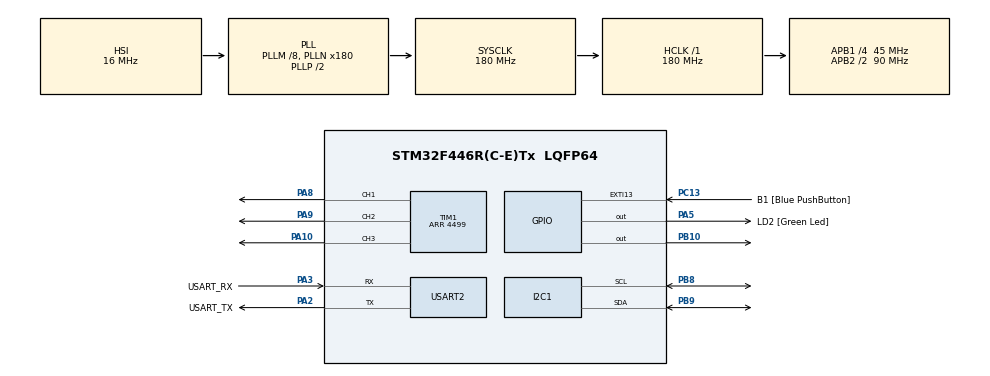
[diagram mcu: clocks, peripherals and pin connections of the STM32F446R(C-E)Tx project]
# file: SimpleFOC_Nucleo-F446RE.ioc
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FREERTOS.Tasks01=defaultTask,8,128,StartDefaultTask,Default,NULL,Dynamic,NULL,NULL;FOC_Task,48,512,StartFOC_Task,Default,NULL,Dynamic,NULL,NULL;Log_Task,8,512,StartLog_Task,Default,NULL,Dynamic,NULL,NULL
FREERTOS.configUSE_NEWLIB_REENTRANT=1
I2C1.I2C_Mode=I2C_Fast
Mcu.Family=STM32F4
Mcu.Name=STM32F446R(C-E)Tx
Mcu.Package=LQFP64
NVIC.EXTI15_10_IRQn=true\:6\:0\:true\:false\:true\:true\:true\:true\:true
NVIC.I2C1_EV_IRQn=true\:5\:0\:false\:false\:true\:true\:true\:true\:true
NVIC.PriorityGroup=NVIC_PRIORITYGROUP_4
NVIC.TIM1_UP_TIM10_IRQn=true\:5\:0\:true\:false\:true\:true\:true\:true\:true
NVIC.TIM6_DAC_IRQn=true\:15\:0\:false\:false\:true\:false\:false\:true\:true
NVIC.TimeBase=TIM6_DAC_IRQn
NVIC.TimeBaseIP=TIM6
PA10.Signal=S_TIM1_CH3
PA13.GPIO_Label=TMS
PA13.Mode=Serial_Wire
PA13.Signal=SYS_JTMS-SWDIO
PA14.GPIO_Label=TCK
PA14.Mode=Serial_Wire
PA14.Signal=SYS_JTCK-SWCLK
PA2.GPIO_Label=USART_TX
PA2.Mode=Asynchronous
PA2.Signal=USART2_TX
PA3.GPIO_Label=USART_RX
PA3.Mode=Asynchronous
PA3.Signal=USART2_RX
PA5.GPIO_Label=LD2 [Green Led]
PA5.Signal=GPIO_Output
PA8.Signal=S_TIM1_CH1
PA9.Signal=S_TIM1_CH2
PB10.Signal=GPIO_Output
PB3.GPIO_Label=SWO
PB3.Signal=SYS_JTDO-SWO
PB8.Mode=I2C
PB8.Signal=I2C1_SCL
PB9.Mode=I2C
PB9.Signal=I2C1_SDA
PC13.GPIO_Label=B1 [Blue PushButton]
PC13.GPIO_ModeDefaultEXTI=GPIO_MODE_IT_FALLING
PC13.Signal=GPXTI13
PC14-OSC32_IN.Mode=LSE-External-Oscillator
PC14-OSC32_IN.Signal=RCC_OSC32_IN
PC15-OSC32_OUT.Mode=LSE-External-Oscillator
PC15-OSC32_OUT.Signal=RCC_OSC32_OUT
PH0-OSC_IN.Mode=HSE-External-Clock-Source
PH0-OSC_IN.Signal=RCC_OSC_IN
PH1-OSC_OUT.Mode=HSE-External-Clock-Source
PH1-OSC_OUT.Signal=RCC_OSC_OUT
ProjectManager.HeapSize=0x200
ProjectManager.StackSize=0x400
ProjectManager.TargetToolchain=STM32CubeIDE
RCC.48MHZClocksFreq_Value=84000000
RCC.AHBFreq_Value=180000000
RCC.APB1CLKDivider=RCC_HCLK_DIV4
RCC.APB1Freq_Value=45000000
RCC.APB1TimFreq_Value=90000000
RCC.APB2CLKDivider=RCC_HCLK_DIV2
RCC.APB2Freq_Value=90000000
RCC.APB2TimFreq_Value=180000000
RCC.CortexFreq_Value=180000000
RCC.FLatency-AdvancedSettings=FLASH_LATENCY_5
RCC.HCLKFreq_Value=180000000
RCC.HSE_VALUE=8000000
RCC.HSI_VALUE=16000000
RCC.PLLM=8
RCC.PLLN=180
RCC.SYSCLKFreq_VALUE=180000000
RCC.SYSCLKSource=RCC_SYSCLKSOURCE_PLLCLK
RCC.USBFreq_Value=180000000
RCC.VCOOutputFreq_Value=360000000
SH.S_TIM1_CH1.0=TIM1_CH1,PWM Generation1 CH1
SH.S_TIM1_CH2.0=TIM1_CH2,PWM Generation2 CH2
SH.S_TIM1_CH3.0=TIM1_CH3,PWM Generation3 CH3
TIM1.Channel-PWM\ Generation1\ CH1=TIM_CHANNEL_1
TIM1.Channel-PWM\ Generation2\ CH2=TIM_CHANNEL_2
TIM1.Channel-PWM\ Generation3\ CH3=TIM_CHANNEL_3
TIM1.CounterMode=TIM_COUNTERMODE_CENTERALIGNED1
TIM1.Period=4499
TIM1.Pulse-PWM\ Generation1\ CH1=2250
TIM1.Pulse-PWM\ Generation2\ CH2=2250
TIM1.Pulse-PWM\ Generation3\ CH3=2250
USART2.VirtualMode=VM_ASYNC
VP_FREERTOS_VS_CMSIS_V2.Mode=CMSIS_V2
VP_SYS_VS_tim6.Mode=TIM6
board=NUCLEO-F446RE

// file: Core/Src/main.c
/* USER CODE BEGIN Header */
/**
  ******************************************************************************
  * @file           : main.c
  * @brief          : Positionsregelung mit FOC + FreeRTOS (CMSIS-RTOS V2)
  *
  * Betriebsmodus: Positionsregelung (Kaskade Position → Geschwindigkeit → Uq)
  *
  * Button (PC13):
  *   Kurz (<800 ms) : nächste Zielposition aus angle_table
  *   Lang (≥800 ms) : zurück zu 0°
  *
  * Zielwinkel ändern: angle_table[] in rad anpassen
  * Regler tunen    : PI_VEL_KP/KI, PI_POS_KP, PI_POS_VEL_LIMIT in #defines
  ******************************************************************************
  */
/* USER CODE END Header */

#include "main.h"
#include "cmsis_os.h"
#include "i2c.h"
#include "tim.h"
#include "usart.h"
#include "gpio.h"

/* USER CODE BEGIN Includes */
#include "foc.h"
#include "as5600.h"
#include <stdio.h>
#include <string.h>
/* USER CODE END Includes */

/* USER CODE BEGIN PTD */
typedef struct {
    float    angle;           /* gemessener Winkel [rad]    */
    float    target;          /* Sollwinkel [rad]           */
    float    velocity;        /* gefilterte Geschw. [rad/s] */
    float    Uq;              /* q-Achsen-Spannung [V]      */
    float    pos_error;       /* Positionsfehler [rad]      */
    uint8_t  stalled;
    uint32_t timestamp_ms;
} LogMsg_t;
/* USER CODE END PTD */

/* USER CODE BEGIN PD */
#define MOTOR_POLE_PAIRS      7
#define MOTOR_VOLTAGE_SUPPLY  12.0f
#define PWM_ARR               4499U
#define CTRL_TS_S             (1.0f / 20000.0f)
#define SENSOR_DIV            10
#define SENSOR_TS_S           (CTRL_TS_S * SENSOR_DIV)   /* 500 µs */

/* Geschwindigkeitsregler */
#define PI_VEL_KP             0.4f
#define PI_VEL_KI             0.3f

/* Positionsregler */
#define PI_POS_KP             1.0f    /* erhöhen → schneller, aber Überschwingen */
#define PI_POS_KI             0.0f    /* meist 0 – Geschwindigkeitsregler übernimmt */
//#define PI_POS_VEL_LIMIT      40.0f   /* max. Ausgang Positionsregler [rad/s]       */
#define PI_POS_VEL_LIMIT   30.0f   // diese Geschwindigkeit wird konstant gehalten
/* Stall-Erkennung */
#define STALL_VEL_THRESHOLD   0.3f    /* rad/s – unter diesem Wert gilt Motor als still */
#define STALL_POS_THRESHOLD   0.1f    /* rad  – ~6°, ab hier gilt Position als "nicht erreicht" */
#define STALL_TIME_MS         800
#define RESTART_TIME_MS       2000

#define FOC_FLAG_TICK         0x0001U
#define LOG_DIV               200U
#define LOG_QUEUE_DEPTH       8U
/* USER CODE END PD */

/* USER CODE BEGIN PV */
static FOC_t    foc;
static AS5600_t sensor;
static uint16_t tick_div     = 0;
static float    angle_prev   = 0.0f;
static float    vel_filtered = 0.0f;

static volatile uint32_t btn_press_time = 0;
static volatile uint8_t  btn_pressed    = 0;

static uint32_t stall_timer        = 0;
static uint8_t  stall_timer_active = 0;
static uint8_t  stalled            = 0;

/*
 * Zielpositionen in Grad → Umrechnung: rad = Grad * PI / 180
 * Beispiel: 0°, 90°, 180°, 270°
 * Anpassen nach Bedarf – beliebig viele Einträge möglich.
 */

#define POS_HOLD_MS    100U   /* wie lange jede Position gehalten wird */

static const float angle_table[] = {
    0.0f,               /*   0° */
    FOC_PI,             /* 180° */
	  0.0f,               /*   0° */
    10*FOC_TWO_PI,         /* 360° */
};
static uint8_t angle_idx = 0;

static uint32_t log_div_cnt = 0;

/* CMSIS-RTOS V2 Handles */
static osThreadId_t foc_task_id = NULL;
static const osThreadAttr_t foc_task_attr = {
    .name       = "FOC_Task",
    .priority   = osPriorityRealtime,
    .stack_size = 512 * 4
};

static osThreadId_t log_task_id = NULL;
static const osThreadAttr_t log_task_attr = {
    .name       = "Log_Task",
    .priority   = osPriorityNormal,
    .stack_size = 512 * 4
};

static osMessageQueueId_t log_queue_id = NULL;
static const osMessageQueueAttr_t log_queue_attr = {
    .name = "LogQueue"
};

static osThreadId_t pos_task_id = NULL;
static const osThreadAttr_t pos_task_attr = {
    .name       = "Pos_Task",
    .priority   = osPriorityNormal,
    .stack_size = 256 * 4
};
/* USER CODE END PV */

void SystemClock_Config(void);

/* USER CODE BEGIN PFP */
static void FOC_Task    (void *arg);
static void Log_Task    (void *arg);
static void sensor_tick (void);
static void stall_update(void);
static void commutate   (void);
static void Pos_Task    (void *arg);
/* USER CODE END PFP */

int main(void)
{
    HAL_Init();
    SystemClock_Config();

    MX_GPIO_Init();
    MX_USART2_UART_Init();
    MX_I2C1_Init();
    MX_TIM1_Init();

    /* USER CODE BEGIN 2 */

    /* ── LED-Blitz ───────────────────────────────────────────── */
    HAL_GPIO_WritePin(GPIOA, GPIO_PIN_5, GPIO_PIN_SET);
    HAL_Delay(300);
    HAL_GPIO_WritePin(GPIOA, GPIO_PIN_5, GPIO_PIN_RESET);

    /* ── AS5600 ──────────────────────────────────────────────── */
    if (AS5600_Init(&sensor, &hi2c1, 0.03f) != HAL_OK) {
        while (1) {
            HAL_GPIO_TogglePin(GPIOA, GPIO_PIN_5);
            HAL_Delay(100);
        }
    }
    for (int i = 0; i < 4; i++) {
        HAL_GPIO_TogglePin(GPIOA, GPIO_PIN_5);
        HAL_Delay(250);
    }

    /* ── FOC Init ────────────────────────────────────────────── */
    FOC_Init(&foc,
             &htim1,
             TIM_CHANNEL_1, TIM_CHANNEL_2, TIM_CHANNEL_3,
             GPIOB, GPIO_PIN_10,
             MOTOR_VOLTAGE_SUPPLY,
             MOTOR_POLE_PAIRS,
             PWM_ARR,
             PI_VEL_KP, PI_VEL_KI,
             PI_POS_KP, PI_POS_KI, PI_POS_VEL_LIMIT);

    /* ── Kalibrierung ────────────────────────────────────────── */
    HAL_GPIO_WritePin(GPIOA, GPIO_PIN_5, GPIO_PIN_SET);
    FOC_Enable(&foc);
    if (FOC_Calibrate(&foc, &sensor) != HAL_OK) {
        Error_Handler();
    }
    HAL_GPIO_WritePin(GPIOA, GPIO_PIN_5, GPIO_PIN_RESET);

    /* Startposition = aktuelle Istposition → kein Ruck beim Start */
    foc.target_angle = AS5600_GetAngle(&sensor);
    angle_prev       = foc.target_angle;

    /* ── FreeRTOS ────────────────────────────────────────────── */
    osKernelInitialize();

    pos_task_id = osThreadNew(Pos_Task, NULL, &pos_task_attr);
    if (pos_task_id == NULL) Error_Handler();

    log_queue_id = osMessageQueueNew(LOG_QUEUE_DEPTH, sizeof(LogMsg_t),
                                     &log_queue_attr);
    if (log_queue_id == NULL) Error_Handler();

    foc_task_id = osThreadNew(FOC_Task, NULL, &foc_task_attr);
    if (foc_task_id == NULL) Error_Handler();

    log_task_id = osThreadNew(Log_Task, NULL, &log_task_attr);
    if (log_task_id == NULL) Error_Handler();

    __HAL_TIM_ENABLE_IT(&htim1, TIM_IT_UPDATE);

    osKernelStart();

    /* USER CODE END 2 */
    while (1) {}
}

/* ════════════════════════════════════════════════════════════
   FOC_Task  (osPriorityRealtime, 20 kHz)
   ════════════════════════════════════════════════════════════ */
static void FOC_Task(void *arg)
{
    (void)arg;
    for (;;)
    {
        osThreadFlagsWait(FOC_FLAG_TICK, osFlagsWaitAny, osWaitForever);

        tick_div++;
        if (tick_div >= SENSOR_DIV) {
            tick_div = 0;
            sensor_tick();
            stall_update();
        }
        commutate();
    }
}

static void Pos_Task(void *arg)
{
    (void)arg;
    uint8_t idx = 0;
    uint8_t n   = sizeof(angle_table) / sizeof(angle_table[0]);

    for (;;)
    {
        foc.target_angle = angle_table[idx];

        /* Warten bis Position erreicht (Fehler < Deadband) */
        float error;
        do {
            osDelay(10);
            error = foc.target_angle - AS5600_GetAngle(&sensor);
        } while (fabsf(error) > FOC_POS_DEADBAND * 2.0f);

        osDelay(500);   /* kurz halten, dann nächste Position */

        idx = (idx + 1) % n;
    }
}

/* ════════════════════════════════════════════════════════════
   Log_Task  (osPriorityNormal)
   ════════════════════════════════════════════════════════════ */
static void Log_Task(void *arg)
{
    (void)arg;
    LogMsg_t msg;
    char     buf[160];

    for (;;)
    {
        if (osMessageQueueGet(log_queue_id, &msg, NULL, osWaitForever) == osOK)
        {
            int len = snprintf(buf, sizeof(buf),
                               "--- t=%lu ms ---\r\n"
                               "  angle : %.3f rad (%.1f deg)\r\n"
                               "  target: %.3f rad (%.1f deg)\r\n"
                               "  error : %.3f rad\r\n"
                               "  vel   : %.2f rad/s\r\n"
                               "  Uq    : %.2f V\r\n"
                               "  stall : %u\r\n",
                               (unsigned long)msg.timestamp_ms,
                               msg.angle,   msg.angle   * 57.2957f,
                               msg.target,  msg.target  * 57.2957f,
                               msg.pos_error,
                               msg.velocity,
                               msg.Uq,
                               msg.stalled);

            HAL_UART_Transmit(&huart2, (uint8_t *)buf, (uint16_t)len, 200);
        }
    }
}

/* ════════════════════════════════════════════════════════════
   sensor_tick  (2 kHz)
   Positionsregelung: Position → Geschwindigkeit → Uq
   ════════════════════════════════════════════════════════════ */
static void sensor_tick(void)
{
    if (!foc.calibrated) return;

    AS5600_StartRead(&sensor);

    /* Winkel lesen + Geschwindigkeit berechnen (festes dt = SENSOR_TS_S) */
    float mech = AS5600_GetAngle(&sensor);
    float d    = mech - angle_prev;   /* unwrapped → kein Wrap-Clip nötig */
    angle_prev = mech;

    vel_filtered += 0.05f * (d / SENSOR_TS_S - vel_filtered);

    /* Kaskadenregler: Position → Sollgeschwindigkeit → Uq */
    FOC_PositionLoop(&foc, mech, vel_filtered, SENSOR_TS_S);

    /* Logging */
    log_div_cnt++;
    if (log_div_cnt >= LOG_DIV) {
        log_div_cnt = 0;

        float pos_error = foc.target_angle - mech;
        while (pos_error >  FOC_PI) pos_error -= FOC_TWO_PI;
        while (pos_error < -FOC_PI) pos_error += FOC_TWO_PI;

        LogMsg_t msg = {
            .angle        = mech,
            .target       = foc.target_angle,
            .velocity     = vel_filtered,
            .Uq           = foc.Uq,
            .pos_error    = pos_error,
            .stalled      = stalled,
            .timestamp_ms = HAL_GetTick()
        };
        osMessageQueuePut(log_queue_id, &msg, 0, 0);
    }
}

/* ════════════════════════════════════════════════════════════
   stall_update  (2 kHz)
   Stall: Positionsfehler > Schwelle UND Geschwindigkeit ~0
   ════════════════════════════════════════════════════════════ */
static void stall_update(void)
{
    float pos_error = foc.target_angle - AS5600_GetAngle(&sensor);
    while (pos_error >  FOC_PI) pos_error -= FOC_TWO_PI;
    while (pos_error < -FOC_PI) pos_error += FOC_TWO_PI;

    if (!stalled) {
        if (fabsf(vel_filtered)  < STALL_VEL_THRESHOLD &&
            fabsf(pos_error)     > STALL_POS_THRESHOLD) {
            if (!stall_timer_active) {
                stall_timer_active = 1;
                stall_timer = HAL_GetTick();
            } else if (HAL_GetTick() - stall_timer > STALL_TIME_MS) {
                stalled            = 1;
                stall_timer_active = 1;
                stall_timer        = HAL_GetTick();
                FOC_Disable(&foc);
                HAL_GPIO_WritePin(GPIOA, GPIO_PIN_5, GPIO_PIN_RESET);
            }
        } else {
            stall_timer_active = 0;
            stall_timer        = 0;
        }
    } else {
        /* Stall-LED blinkt */
        HAL_GPIO_WritePin(GPIOA, GPIO_PIN_5,
            (HAL_GetTick() / 200) % 2 ? GPIO_PIN_SET : GPIO_PIN_RESET);

        if (HAL_GetTick() - stall_timer > RESTART_TIME_MS) {
            stalled            = 0;
            stall_timer_active = 0;
            stall_timer        = 0;

            /* Positionsregler und Integratoren zurücksetzen */
            PI_Reset(&foc.pi_velocity);
            PI_Reset(&foc.pi_position);

            /* Ziel = aktuelle Istposition → kein Ruck beim Neustart */
            foc.target_angle = AS5600_GetAngle(&sensor);
            angle_prev       = foc.target_angle;

            FOC_Enable(&foc);
            HAL_GPIO_WritePin(GPIOA, GPIO_PIN_5, GPIO_PIN_SET);
        }
    }
}

/* ════════════════════════════════════════════════════════════
   commutate  (20 kHz)
   ════════════════════════════════════════════════════════════ */
static void commutate(void)
{
    if (!foc.calibrated) return;

    float elec_angle = FOC_ElecAngle(&foc, AS5600_GetAngle(&sensor));
    FOC_SetPhaseVoltage(&foc, foc.Uq, foc.Ud, elec_angle);
}

/* ════════════════════════════════════════════════════════════
   System Clock
   ════════════════════════════════════════════════════════════ */
void SystemClock_Config(void)
{
    RCC_OscInitTypeDef RCC_OscInitStruct = {0};
    RCC_ClkInitTypeDef RCC_ClkInitStruct = {0};

    __HAL_RCC_PWR_CLK_ENABLE();
    __HAL_PWR_VOLTAGESCALING_CONFIG(PWR_REGULATOR_VOLTAGE_SCALE1);

    RCC_OscInitStruct.OscillatorType      = RCC_OSCILLATORTYPE_HSI;
    RCC_OscInitStruct.HSIState            = RCC_HSI_ON;
    RCC_OscInitStruct.HSICalibrationValue = RCC_HSICALIBRATION_DEFAULT;
    RCC_OscInitStruct.PLL.PLLState        = RCC_PLL_ON;
    RCC_OscInitStruct.PLL.PLLSource       = RCC_PLLSOURCE_HSI;
    RCC_OscInitStruct.PLL.PLLM            = 8;
    RCC_OscInitStruct.PLL.PLLN            = 180;
    RCC_OscInitStruct.PLL.PLLP            = RCC_PLLP_DIV2;
    RCC_OscInitStruct.PLL.PLLQ            = 2;
    RCC_OscInitStruct.PLL.PLLR            = 2;
    if (HAL_RCC_OscConfig(&RCC_OscInitStruct) != HAL_OK) Error_Handler();
    if (HAL_PWREx_EnableOverDrive() != HAL_OK)           Error_Handler();

    RCC_ClkInitStruct.ClockType      = RCC_CLOCKTYPE_HCLK | RCC_CLOCKTYPE_SYSCLK
                                     | RCC_CLOCKTYPE_PCLK1 | RCC_CLOCKTYPE_PCLK2;
    RCC_ClkInitStruct.SYSCLKSource   = RCC_SYSCLKSOURCE_PLLCLK;
    RCC_ClkInitStruct.AHBCLKDivider  = RCC_SYSCLK_DIV1;
    RCC_ClkInitStruct.APB1CLKDivider = RCC_HCLK_DIV4;
    RCC_ClkInitStruct.APB2CLKDivider = RCC_HCLK_DIV2;
    if (HAL_RCC_ClockConfig(&RCC_ClkInitStruct, FLASH_LATENCY_5) != HAL_OK) Error_Handler();
}

/* USER CODE BEGIN 4 */

/* ════════════════════════════════════════════════════════════
   TIM-Callback
   TIM6 → HAL_IncTick()
   TIM1 → FOC_Task wecken (20 kHz)
   ════════════════════════════════════════════════════════════ */
void HAL_TIM_PeriodElapsedCallback(TIM_HandleTypeDef *htim)
{
    if (htim->Instance == TIM6) {
        HAL_IncTick();
    }
    if (htim->Instance == TIM1) {
        if (foc_task_id != NULL) {
            osThreadFlagsSet(foc_task_id, FOC_FLAG_TICK);
        }
    }
}

/* ── I2C Callback ─────────────────────────────────────────── */
void HAL_I2C_MemRxCpltCallback(I2C_HandleTypeDef *hi2c)
{
    if (hi2c->Instance == I2C1) {
        AS5600_ProcessRead(&sensor);
    }
}

/* ── Button EXTI ──────────────────────────────────────────── */
void HAL_GPIO_EXTI_Callback(uint16_t GPIO_Pin)
{
    if (GPIO_Pin == GPIO_PIN_13)
    {
        uint32_t now = HAL_GetTick();

        /* Debounce 50 ms */
        if (!btn_pressed && (now - btn_press_time < 50)) return;

        UBaseType_t uxSaved = taskENTER_CRITICAL_FROM_ISR();

        if (!btn_pressed) {
            btn_pressed    = 1;
            btn_press_time = now;
        } else {
            uint32_t duration = now - btn_press_time;
            btn_pressed = 0;

            if (duration < 800) {
                /* Kurzer Druck: nächste Zielposition */
                angle_idx = (angle_idx + 1) %
                            (uint8_t)(sizeof(angle_table) / sizeof(angle_table[0]));
                foc.target_angle = angle_table[angle_idx];
            } else {
                /* Langer Druck: zurück zu 0° */
                angle_idx        = 0;
                foc.target_angle = angle_table[0];
            }

            /* Integratoren nicht zurücksetzen – sanfter Übergang */
        }

        taskEXIT_CRITICAL_FROM_ISR(uxSaved);
    }
}
/* USER CODE END 4 */

void Error_Handler(void)
{
    __disable_irq();
    while (1) {}
}

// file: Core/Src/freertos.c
/* USER CODE BEGIN Header */
/**
  ******************************************************************************
  * File Name          : freertos.c
  * Description        : Code for freertos applications
  *
  * HINWEIS: MX_FREERTOS_Init() wird NICHT von main.c aufgerufen!
  * Alle echten Tasks (FOC_Task, Log_Task) werden direkt in main.c
  * mit osThreadNew() erstellt und verwaltet.
  *
  * StartFOC_Task / StartLog_Task sind leere CubeMX-Stubs – sie laufen nicht.
  * defaultTask läuft als reiner Idle-Fallback.
  ******************************************************************************
  */
/* USER CODE END Header */

#include "FreeRTOS.h"
#include "task.h"
#include "main.h"
#include "cmsis_os.h"

/* Definitions for defaultTask */
osThreadId_t defaultTaskHandle;
const osThreadAttr_t defaultTask_attributes = {
  .name = "defaultTask",
  .stack_size = 128 * 4,
  .priority = (osPriority_t) osPriorityLow,
};

/* Definitions for FOC_Task (CubeMX-Stub – wird NICHT gestartet) */
osThreadId_t FOC_TaskHandle;
const osThreadAttr_t FOC_Task_attributes = {
  .name = "FOC_Task",
  .stack_size = 512 * 4,
  .priority = (osPriority_t) osPriorityRealtime,
};

/* Definitions for Log_Task (CubeMX-Stub – wird NICHT gestartet) */
osThreadId_t Log_TaskHandle;
const osThreadAttr_t Log_Task_attributes = {
  .name = "Log_Task",
  .stack_size = 512 * 4,
  .priority = (osPriority_t) osPriorityLow,
};

void StartDefaultTask(void *argument);
void StartFOC_Task(void *argument);
void StartLog_Task(void *argument);

void MX_FREERTOS_Init(void)
{
  /* HINWEIS: Diese Funktion wird von main.c NICHT aufgerufen!
   * Tasks werden direkt in main.c erstellt.
   * Nur defaultTask wird hier für den Fall registriert, dass
   * MX_FREERTOS_Init() doch einmal aufgerufen wird. */

  /* USER CODE BEGIN RTOS_THREADS */
  defaultTaskHandle = osThreadNew(StartDefaultTask, NULL, &defaultTask_attributes);
  /* FOC_TaskHandle  = osThreadNew(StartFOC_Task,  NULL, &FOC_Task_attributes);  // NICHT starten! */
  /* Log_TaskHandle  = osThreadNew(StartLog_Task,  NULL, &Log_Task_attributes);  // NICHT starten! */
  /* USER CODE END RTOS_THREADS */
}

/* ── defaultTask: Idle-Fallback, läuft nur wenn alle anderen Tasks blockiert ── */
void StartDefaultTask(void *argument)
{
  /* USER CODE BEGIN StartDefaultTask */
  for(;;)
  {
    osDelay(1000);
  }
  /* USER CODE END StartDefaultTask */
}

/* ── StartFOC_Task: CubeMX-Stub, wird NICHT gestartet ── */
void StartFOC_Task(void *argument)
{
  /* USER CODE BEGIN StartFOC_Task */
  /* Leer – echter FOC-Task läuft in main.c */
  for(;;)
  {
    osDelay(1000);
  }
  /* USER CODE END StartFOC_Task */
}

/* ── StartLog_Task: CubeMX-Stub, wird NICHT gestartet ── */
void StartLog_Task(void *argument)
{
  /* USER CODE BEGIN StartLog_Task */
  /* Leer – echter Log-Task läuft in main.c */
  for(;;)
  {
    osDelay(1000);
  }
  /* USER CODE END StartLog_Task */
}
